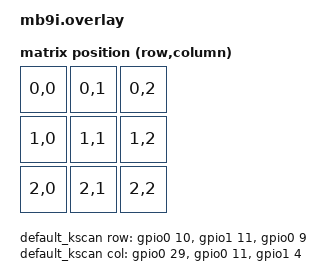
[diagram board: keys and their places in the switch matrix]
#include <dt-bindings/zmk/matrix_transform.h>
#include <dt-bindings/led/led.h>
#include <zephyr/dt-bindings/pinctrl/nrf-pinctrl.h>
#include <physical_layouts.dtsi>

/ {
    default_kscan: kscan {
        compatible = "zmk,kscan-gpio-matrix";
        label = "default_kscan";
        diode-direction = "col2row";
        poll-period-ms = <20>;
        wakeup-source;

        row-gpios = <&gpio0 10 (GPIO_ACTIVE_HIGH | GPIO_PULL_DOWN)>,
                    <&gpio1 11 (GPIO_ACTIVE_HIGH | GPIO_PULL_DOWN)>,
                    <&gpio0 9 (GPIO_ACTIVE_HIGH | GPIO_PULL_DOWN)>;

        col-gpios = <&gpio0 29 GPIO_ACTIVE_HIGH>,
                    <&gpio0 11 GPIO_ACTIVE_HIGH>,
                    <&gpio1 4 GPIO_ACTIVE_HIGH>;
    };

    default_transform: matrix_transform {
        compatible = "zmk,matrix-transform";
        rows = <3>;
        columns = <3>;

        map = <
            RC(0,0) RC(0,1) RC(0,2)
            RC(1,0) RC(1,1) RC(1,2)
            RC(2,0) RC(2,1) RC(2,2)
        >;
    };

    physical_layout0: physical_layout_0 {
        compatible = "zmk,physical-layout";
        display-name = "Default Layout";
        transform = <&default_transform>;
        kscan = <&default_kscan>;

        keys  //                     w   h    x    y     rot    rx    ry
            = <&key_physical_attrs 100 100    0    0       0     0     0>
            , <&key_physical_attrs 100 100  100    0       0     0     0>
            , <&key_physical_attrs 100 100  200    0       0     0     0>
            , <&key_physical_attrs 100 100    0  100       0     0     0>
            , <&key_physical_attrs 100 100  100  100       0     0     0>
            , <&key_physical_attrs 100 100  200  100       0     0     0>
            , <&key_physical_attrs 100 100    0  200       0     0     0>
            , <&key_physical_attrs 100 100  100  200       0     0     0>
            , <&key_physical_attrs 100 100  200  200       0     0     0>
            ;
    };

    chosen {
        zmk,kscan = &default_kscan;
        zmk,physical-layout = &physical_layout0;
        zmk,underglow = &led_strip;
    };
};

// Cadena de 2 LEDs ARGB (WS2812/SK6812) de prueba: dato en P0.17.
// Se usa spi3 (instancia dedicada del nRF52840): spi1 ya lo define la placa
// para el SPI del pro-micro y sus pines chocan con la matriz.
// Solo se declara MOSI, que es la única línea que usa el WS2812; el SPI
// se emplea unicamente para generar el timing del protocolo con precisión.
&pinctrl {
    spi3_default: spi3_default {
        group1 {
            psels = <NRF_PSEL(SPIM_MOSI, 0, 17)>;
        };
    };

    spi3_sleep: spi3_sleep {
        group1 {
            psels = <NRF_PSEL(SPIM_MOSI, 0, 17)>;
            low-power-enable;
        };
    };
};

&spi3 {
    compatible = "nordic,nrf-spim";
    status = "okay";
    pinctrl-0 = <&spi3_default>;
    pinctrl-1 = <&spi3_sleep>;
    pinctrl-names = "default", "sleep";

    led_strip: ws2812@0 {
        compatible = "worldsemi,ws2812-spi";
        reg = <0>;

        spi-max-frequency = <4000000>;
        spi-one-frame = <0x70>;
        spi-zero-frame = <0x40>;

        chain-length = <2>;
        color-mapping = <LED_COLOR_ID_GREEN LED_COLOR_ID_RED LED_COLOR_ID_BLUE>;
    };
};
